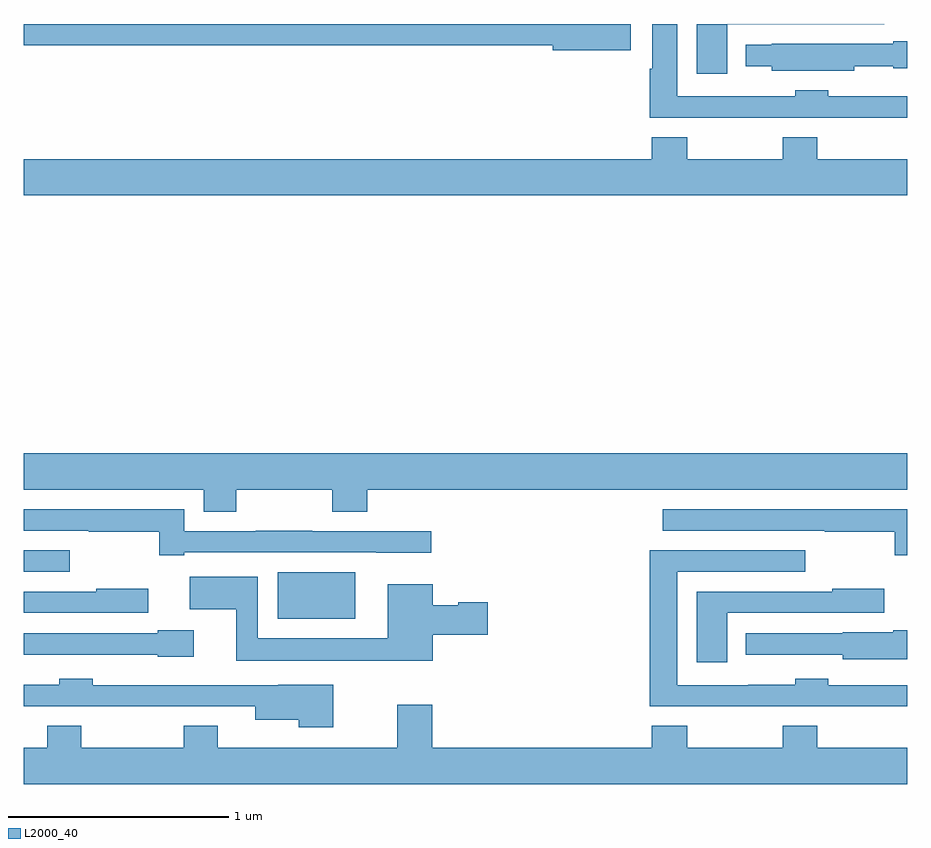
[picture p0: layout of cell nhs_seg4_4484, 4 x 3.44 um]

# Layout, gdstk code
import gdstk
lib = gdstk.Library(unit=1e-6, precision=1e-09)
def R(c, l, rs):  # rectangles x0, y0, x1, y1
    for r in rs: c.add(gdstk.rectangle(r[:2], r[2:], *l))
def P(c, l, *ps):  # polygons
    for p in ps: c.add(gdstk.Polygon(p, *l))
L2000_40 = (2000, 40)

nhs_seg4_4484 = lib.new_cell('nhs_seg4_4484')
R(nhs_seg4_4484, L2000_40, [(352.151,824.207,352.501,824.419), (351,824.421,351.208,824.517)])
P(nhs_seg4_4484, L2000_40, [(353.749,826.9),(351,826.9),(351,826.804),(353.396,826.804),(353.396,826.781),(353.749,826.781)],
  [(354.184,826.899),(354.895,826.899),(354.895,826.9),(354.047,826.9),(354.047,826.674),(354.184,826.674)],
  [(354.965,826.476),(355,826.476),(355,826.572),(354.642,826.572),(354.642,826.6),(354.492,826.6),(354.492,826.572),(353.959,826.572),(353.959,826.9),(353.846,826.9),(353.846,826.697),(353.834,826.697),(353.834,826.475),(354.965,826.475)],
  [(354.759,826.709),(354.936,826.709),(354.936,826.7),(355,826.7),(355,826.821),(354.936,826.821),(354.936,826.81),(354.387,826.81),(354.387,826.806),(354.269,826.806),(354.269,826.709),(354.387,826.709),(354.387,826.688),(354.759,826.688)],
  [(355,826.288),(354.591,826.288),(354.591,826.387),(354.436,826.387),(354.436,826.288),(354.003,826.288),(354.003,826.387),(353.843,826.387),(353.843,826.288),(351,826.288),(351,826.124),(355,826.124)],
  [(351.963,824.792),(352.396,824.792),(352.396,824.693),(352.556,824.693),(352.556,824.792),(355,824.792),(355,824.956),(351,824.956),(351,824.792),(351.815,824.792),(351.815,824.693),(351.963,824.693)],
  [(351.727,824.508),(352.597,824.508),(352.597,824.507),(352.846,824.507),(352.846,824.604),(352.307,824.604),(352.307,824.606),(352.051,824.606),(352.051,824.604),(351.727,824.604),(351.727,824.703),(351,824.703),(351,824.607),(351.295,824.607),(351.295,824.602),(351.613,824.602),(351.613,824.496),(351.727,824.496)],
  [(355,824.703),(353.892,824.703),(353.892,824.607),(354.625,824.607),(354.625,824.602),(354.943,824.602),(354.943,824.496),(355,824.496)],
  [(354.965,823.812),(355,823.812),(355,823.908),(354.642,823.908),(354.642,823.936),(354.492,823.936),(354.492,823.909),(354.28,823.909),(354.28,823.908),(353.959,823.908),(353.959,824.421),(354.538,824.421),(354.538,824.517),(353.834,824.517),(353.834,823.811),(354.965,823.811)],
  [(352.852,824.135),(353.101,824.135),(353.101,824.282),(352.968,824.282),(352.968,824.269),(352.852,824.269),(352.852,824.365),(352.649,824.365),(352.649,824.119),(352.059,824.119),(352.059,824.398),(351.753,824.398),(351.753,824.252),(351.962,824.252),(351.962,824.018),(352.852,824.018)],
  [(351.565,824.344),(351.329,824.344),(351.329,824.331),(351,824.331),(351,824.235),(351.565,824.235)],
  [(354.184,824.235),(354.895,824.235),(354.895,824.344),(354.659,824.344),(354.659,824.331),(354.047,824.331),(354.047,824.01),(354.184,824.01)],
  [(351.769,824.157),(351.606,824.157),(351.606,824.142),(351,824.142),(351,824.046),(351.606,824.046),(351.606,824.036),(351.769,824.036)],
  [(355,824.157),(354.936,824.157),(354.936,824.146),(354.708,824.146),(354.708,824.142),(354.269,824.142),(354.269,824.046),(354.708,824.046),(354.708,824.024),(355,824.024)],
  [(352.401,823.909),(352.153,823.909),(352.153,823.908),(351.312,823.908),(351.312,823.936),(351.162,823.936),(351.162,823.909),(351,823.909),(351,823.811),(351.635,823.811),(351.635,823.812),(352.049,823.812),(352.049,823.751),(352.246,823.751),(352.246,823.718),(352.401,823.718)],
  [(355,823.624),(354.591,823.624),(354.591,823.723),(354.436,823.723),(354.436,823.624),(354.003,823.624),(354.003,823.723),(353.843,823.723),(353.843,823.624),(352.85,823.624),(352.85,823.819),(352.69,823.819),(352.69,823.624),(351.879,823.624),(351.879,823.723),(351.724,823.723),(351.724,823.624),(351.261,823.624),(351.261,823.723),(351.106,823.723),(351.106,823.624),(351,823.624),(351,823.46),(355,823.46)])

lib.write_gds('nhs_seg4_4484.gds')
